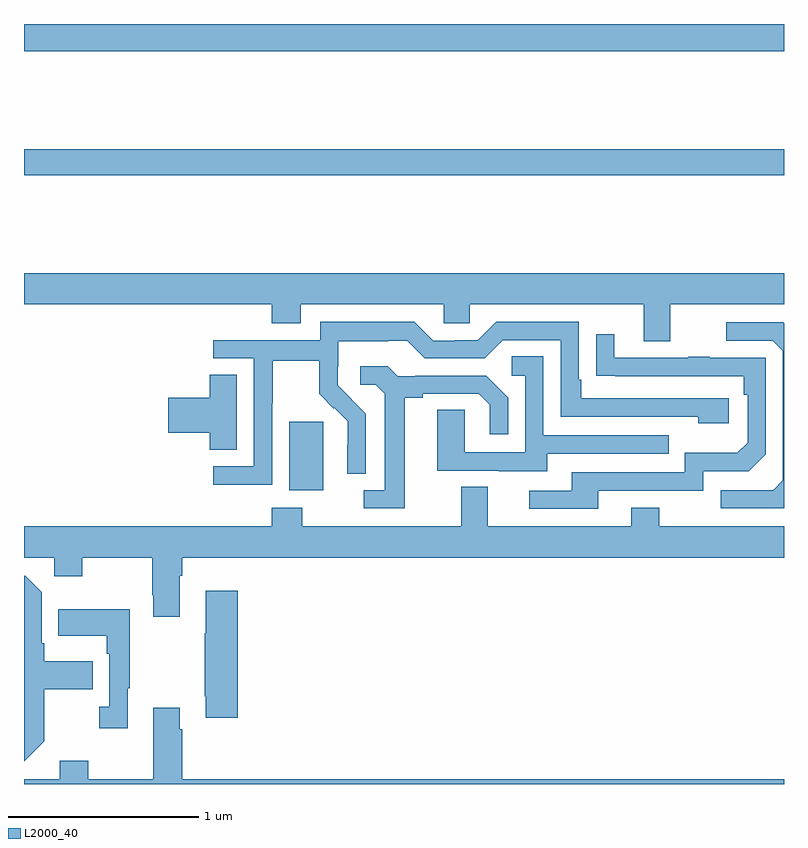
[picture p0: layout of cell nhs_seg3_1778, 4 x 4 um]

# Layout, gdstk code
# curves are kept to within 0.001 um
import gdstk
lib = gdstk.Library(unit=1e-6, precision=1e-09)
def R(c, l, rs):  # rectangles x0, y0, x1, y1
    for r in rs: c.add(gdstk.rectangle(r[:2], r[2:], *l))
def P(c, l, *ps):  # polygons
    for p in ps: c.add(gdstk.Polygon(p, *l))
L2000_40 = (2000, 40)

nhs_seg3_1778 = lib.new_cell('nhs_seg3_1778')
R(nhs_seg3_1778, L2000_40, [(204.395,691.946,204.574,692.307), (203,693.604,207,693.74), (203,694.256,207,694.4)])
P(nhs_seg3_1778, L2000_40, [(206.401,692.924),(207,692.924),(207,693.088),(203,693.088),(203,692.924),(204.305,692.924),(204.305,692.825),(204.457,692.825),(204.457,692.924),(205.209,692.924),(205.209,692.826),(205.347,692.826),(205.347,692.924),(206.261,692.924),(206.261,692.73),(206.401,692.73)],
  [(204.306,692.404),(204.309,692.404),(204.309,692.628),(204.553,692.628),(204.553,692.453),(204.63,692.376),(204.633,692.379),(204.704,692.309),(204.704,692.186),(204.702,692.186),(204.702,692.032),(204.798,692.032),(204.798,692.35),(204.652,692.498),(204.652,692.595),(204.654,692.595),(204.654,692.729),(204.917,692.729),(204.917,692.733),(205.017,692.733),(205.11,692.64),(205.425,692.64),(205.521,692.736),(205.824,692.736),(205.824,692.334),(206.549,692.334),(206.549,692.3),(206.71,692.3),(206.71,692.43),(205.933,692.43),(205.933,692.527),(205.92,692.527),(205.92,692.832),(205.485,692.832),(205.389,692.736),(205.271,692.736),(205.271,692.733),(205.155,692.733),(205.055,692.833),(204.558,692.833),(204.558,692.736),(203.997,692.736),(203.997,692.64),(204.21,692.64),(204.21,692.073),(203.997,692.073),(203.997,691.975),(204.306,691.975)],
  [(207,692.826),(206.997,692.829),(206.697,692.829),(206.697,692.733),(206.94,692.733),(206.994,692.679),(206.994,691.998),(206.943,691.947),(206.667,691.947),(206.667,691.851),(207,691.851)],
  [(206.023,691.944),(206.574,691.944),(206.574,692.046),(206.814,692.046),(206.904,692.136),(206.904,692.643),(206.609,692.643),(206.609,692.648),(206.497,692.648),(206.497,692.643),(206.107,692.643),(206.107,692.767),(206.011,692.767),(206.011,692.548),(206.788,692.547),(206.788,692.45),(206.808,692.45),(206.808,692.196),(206.755,692.143),(206.478,692.143),(206.478,692.04),(205.883,692.04),(205.883,691.944),(205.659,691.944),(205.659,691.848),(206.023,691.848)],
  [(205.753,692.139),(206.393,692.139),(206.393,692.235),(205.734,692.235),(205.734,692.651),(205.566,692.651),(205.566,692.55),(205.638,692.55),(205.638,692.145),(205.32,692.145),(205.32,692.369),(205.175,692.369),(205.175,692.049),(205.499,692.049),(205.499,692.045),(205.753,692.045)],
  [(205.003,692.432),(205.099,692.432),(205.099,692.454),(205.394,692.454),(205.451,692.397),(205.451,692.241),(205.548,692.241),(205.548,692.434),(205.432,692.55),(205.06,692.55),(205.06,692.547),(204.966,692.547),(204.914,692.599),(204.771,692.599),(204.771,692.502),(204.852,692.502),(204.899,692.455),(204.899,691.947),(204.789,691.947),(204.789,691.851),(205.003,691.851)],
  [(204.121,692.555),(203.978,692.555),(203.978,692.432),(203.76,692.432),(203.76,692.249),(203.978,692.249),(203.978,692.158),(204.121,692.158)],
  [(203.821,691.496),(203.834,691.496),(203.834,691.592),(207,691.592),(207,691.756),(206.343,691.756),(206.343,691.855),(206.195,691.855),(206.195,691.756),(205.441,691.756),(205.441,691.964),(205.301,691.964),(205.301,691.756),(204.465,691.756),(204.465,691.855),(204.305,691.855),(204.305,691.756),(203,691.756),(203,691.592),(203.16,691.592),(203.16,691.493),(203.307,691.493),(203.307,691.592),(203.674,691.592),(203.674,691.393),(203.681,691.393),(203.681,691.281),(203.821,691.281)],
  [(203.107,690.625),(203.107,690.898),(203.363,690.898),(203.363,691.045),(203.107,691.045),(203.107,691.141),(203.094,691.141),(203.094,691.41),(203.007,691.497),(203,691.497),(203,690.519),(203.001,690.519)],
  [(204.125,691.417),(203.957,691.417),(203.957,691.193),(203.95,691.193),(203.95,690.862),(203.957,690.862),(203.957,690.75),(204.125,690.75)],
  [(203.545,690.905),(203.557,690.905),(203.557,691.321),(203.179,691.321),(203.179,691.181),(203.436,691.181),(203.436,691.085),(203.448,691.085),(203.448,690.806),(203.397,690.806),(203.397,690.693),(203.545,690.693)],
  [(207,690.424),(203.834,690.424),(203.834,690.689),(203.821,690.689),(203.821,690.802),(203.681,690.802),(203.681,690.424),(203.337,690.424),(203.337,690.523),(203.189,690.523),(203.189,690.424),(203,690.424),(203,690.4),(207,690.4)])

lib.write_gds('nhs_seg3_1778.gds')
